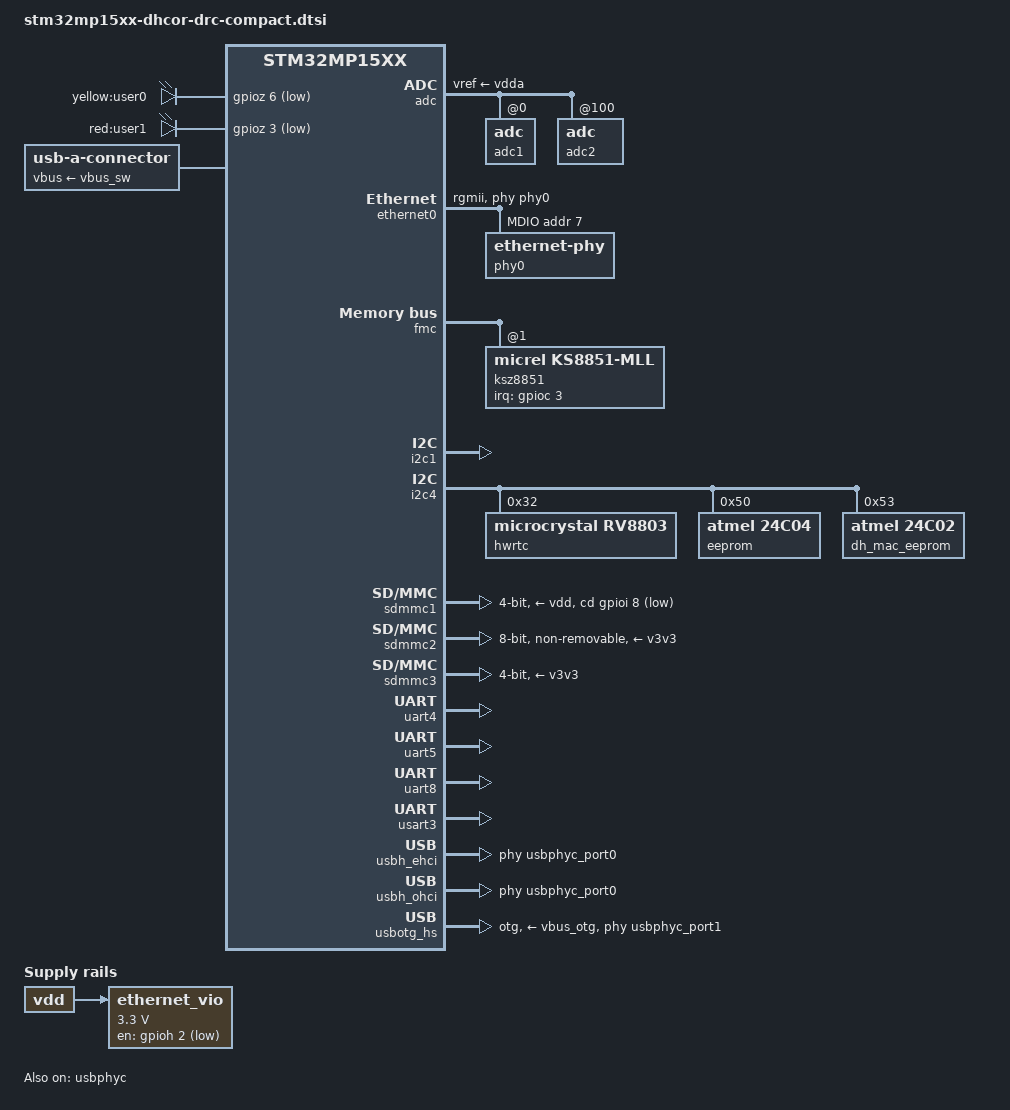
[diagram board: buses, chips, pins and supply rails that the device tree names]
// SPDX-License-Identifier: (GPL-2.0 OR BSD-3-Clause)
/*
 * Copyright (C) 2022 Marek Vasut <marex@denx.de>
 */

/ {
	aliases {
		ethernet0 = &ethernet0;
		ethernet1 = &ksz8851;
		mmc0 = &sdmmc1;
		rtc0 = &hwrtc;
		rtc1 = &rtc;
		serial0 = &uart4;
		serial1 = &uart8;
		serial2 = &usart3;
		serial3 = &uart5;
		spi0 = &qspi;
	};

	chosen {
		stdout-path = "serial0:115200n8";
	};

	led {
		compatible = "gpio-leds";
		led1 {
			label = "yellow:user0";
			gpios = <&gpioz 6 GPIO_ACTIVE_LOW>;
			default-state = "off";
		};

		led2 {
			label = "red:user1";
			gpios = <&gpioz 3 GPIO_ACTIVE_LOW>;
			default-state = "off";
		};
	};

	ethernet_vio: vioregulator {
		compatible = "regulator-fixed";
		regulator-name = "vio";
		regulator-min-microvolt = <3300000>;
		regulator-max-microvolt = <3300000>;
		gpio = <&gpioh 2 GPIO_ACTIVE_LOW>;
		regulator-always-on;
		regulator-boot-on;
		vin-supply = <&vdd>;
	};
};

&adc {	/* X11 ADC inputs */
	pinctrl-names = "default";
	pinctrl-0 = <&adc12_ain_pins_b>;
	vdd-supply = <&vdd>;
	vdda-supply = <&vdda>;
	vref-supply = <&vdda>;
	status = "okay";

	adc1: adc@0 {
		st,adc-channels = <0 1 6>;
		st,min-sample-time-nsecs = <5000>;
		status = "okay";
	};

	adc2: adc@100 {
		st,adc-channels = <0 1 2>;
		st,min-sample-time-nsecs = <5000>;
		status = "okay";
	};
};

&ethernet0 {
	status = "okay";
	pinctrl-0 = <&ethernet0_rgmii_pins_c>;
	pinctrl-1 = <&ethernet0_rgmii_sleep_pins_c>;
	pinctrl-names = "default", "sleep";
	phy-mode = "rgmii";
	max-speed = <1000>;
	phy-handle = <&phy0>;

	mdio {
		#address-cells = <1>;
		#size-cells = <0>;
		compatible = "snps,dwmac-mdio";
		reset-gpios = <&gpioz 2 GPIO_ACTIVE_LOW>;
		reset-delay-us = <1000>;
		reset-post-delay-us = <1000>;

		phy0: ethernet-phy@7 {
			reg = <7>;

			rxc-skew-ps = <1500>;
			rxdv-skew-ps = <540>;
			rxd0-skew-ps = <420>;
			rxd1-skew-ps = <420>;
			rxd2-skew-ps = <420>;
			rxd3-skew-ps = <420>;

			txc-skew-ps = <1440>;
			txen-skew-ps = <540>;
			txd0-skew-ps = <420>;
			txd1-skew-ps = <420>;
			txd2-skew-ps = <420>;
			txd3-skew-ps = <420>;
		};
	};
};

&fmc {
	pinctrl-names = "default", "sleep";
	pinctrl-0 = <&fmc_pins_b>;
	pinctrl-1 = <&fmc_sleep_pins_b>;
	status = "okay";

	ksz8851: ethernet@1,0 {
		compatible = "micrel,ks8851-mll";
		reg = <1 0x0 0x2>, <1 0x2 0x20000>;
		interrupt-parent = <&gpioc>;
		interrupts = <3 IRQ_TYPE_LEVEL_LOW>;
		bank-width = <2>;

		/* Timing values are in nS */
		st,fmc2-ebi-cs-mux-enable;
		st,fmc2-ebi-cs-transaction-type = <4>;
		st,fmc2-ebi-cs-buswidth = <16>;
		st,fmc2-ebi-cs-address-setup-ns = <5>;
		st,fmc2-ebi-cs-address-hold-ns = <5>;
		st,fmc2-ebi-cs-bus-turnaround-ns = <5>;
		st,fmc2-ebi-cs-data-setup-ns = <45>;
		st,fmc2-ebi-cs-data-hold-ns = <1>;
		st,fmc2-ebi-cs-write-address-setup-ns = <5>;
		st,fmc2-ebi-cs-write-address-hold-ns = <5>;
		st,fmc2-ebi-cs-write-bus-turnaround-ns = <5>;
		st,fmc2-ebi-cs-write-data-setup-ns = <45>;
		st,fmc2-ebi-cs-write-data-hold-ns = <1>;
	};
};

&gpioa {
	gpio-line-names = "", "", "", "",
			  "DRCC-VAR2", "", "", "",
			  "", "", "", "",
			  "", "", "", "";
};

&gpioe {
	gpio-line-names = "", "", "", "",
			  "", "DRCC-GPIO0", "", "",
			  "", "", "", "",
			  "", "", "", "";
};

&gpiog {
	gpio-line-names = "", "", "", "",
			  "", "", "", "",
			  "", "", "", "",
			  "DRCC-GPIO5", "", "", "";
};

&gpioh {
	gpio-line-names = "", "", "", "DRCC-HW2",
			  "DRCC-GPIO4", "", "", "",
			  "DRCC-HW1", "DRCC-HW0", "", "DRCC-VAR1",
			  "DRCC-VAR0", "", "", "DRCC-GPIO6";
};

&gpioi {
	gpio-line-names = "", "", "", "",
			  "", "", "", "DRCC-GPIO2",
			  "", "DRCC-GPIO1", "", "",
			  "", "", "", "";
};

&i2c1 {	/* X11 I2C1 */
	pinctrl-names = "default";
	pinctrl-0 = <&i2c1_pins_b>;
	i2c-scl-rising-time-ns = <185>;
	i2c-scl-falling-time-ns = <20>;
	status = "okay";
	/delete-property/dmas;
	/delete-property/dma-names;
};

&i2c4 {
	hwrtc: rtc@32 {
		compatible = "microcrystal,rv8803";
		reg = <0x32>;
	};

	eeprom@50 {
		compatible = "atmel,24c04";
		reg = <0x50>;
		pagesize = <16>;
	};

	dh_mac_eeprom: eeprom@53 {
		compatible = "atmel,24c02";
		reg = <0x53>;
		pagesize = <16>;
	};
};

&sdmmc1 {	/* MicroSD */
	pinctrl-names = "default", "opendrain", "sleep";
	pinctrl-0 = <&sdmmc1_b4_pins_a>;
	pinctrl-1 = <&sdmmc1_b4_od_pins_a>;
	pinctrl-2 = <&sdmmc1_b4_sleep_pins_a>;
	cd-gpios = <&gpioi 8 (GPIO_ACTIVE_LOW | GPIO_PULL_UP)>;
	disable-wp;
	st,neg-edge;
	bus-width = <4>;
	vmmc-supply = <&vdd>;
	vqmmc-supply = <&vdd>;
	status = "okay";
};

&sdmmc2 {	/* eMMC */
	pinctrl-names = "default", "opendrain", "sleep";
	pinctrl-0 = <&sdmmc2_b4_pins_a &sdmmc2_d47_pins_c>;
	pinctrl-1 = <&sdmmc2_b4_od_pins_a &sdmmc2_d47_pins_c>;
	pinctrl-2 = <&sdmmc2_b4_sleep_pins_a &sdmmc2_d47_sleep_pins_c>;
	bus-width = <8>;
	no-sd;
	no-sdio;
	non-removable;
	st,neg-edge;
	vmmc-supply = <&v3v3>;
	vqmmc-supply = <&vdd>;
	status = "okay";
};

&sdmmc3 {	/* SDIO Wi-Fi */
	pinctrl-names = "default", "opendrain", "sleep";
	pinctrl-0 = <&sdmmc3_b4_pins_a>;
	pinctrl-1 = <&sdmmc3_b4_od_pins_a>;
	pinctrl-2 = <&sdmmc3_b4_sleep_pins_a>;
	broken-cd;
	bus-width = <4>;
	mmc-ddr-3_3v;
	st,neg-edge;
	vmmc-supply = <&v3v3>;
	vqmmc-supply = <&v3v3>;
	status = "okay";
};

&spi2 {	/* X11 SPI */
	pinctrl-names = "default";
	pinctrl-0 = <&spi2_pins_b>;
	cs-gpios = <&gpioi 0 0>;
	status = "disabled";
	/delete-property/dmas;
	/delete-property/dma-names;
};

&uart4 {
	label = "UART0";
	pinctrl-names = "default";
	pinctrl-0 = <&uart4_pins_d>;
	/delete-property/dmas;
	/delete-property/dma-names;
	status = "okay";
};

&uart5 {	/* X11 UART */
	label = "X11-UART5";
	pinctrl-names = "default";
	pinctrl-0 = <&uart5_pins_a>;
	/delete-property/dmas;
	/delete-property/dma-names;
	status = "okay";
};

&uart8 {
	label = "RS485-1";
	pinctrl-names = "default";
	pinctrl-0 = <&uart8_pins_a &uart8_rtscts_pins_a>;
	uart-has-rtscts;
	/delete-property/dmas;
	/delete-property/dma-names;
	status = "okay";
};

&usart3 {	/* RS485 or RS232 */
	label = "RS485-2";
	pinctrl-names = "default", "sleep";
	pinctrl-0 = <&usart3_pins_e>;
	pinctrl-1 = <&usart3_sleep_pins_e>;
	uart-has-rtscts;
	/delete-property/dmas;
	/delete-property/dma-names;
	status = "okay";
};

&usbh_ehci {
	phys = <&usbphyc_port0>;
	status = "okay";
};

&usbh_ohci {
	phys = <&usbphyc_port0>;
	status = "okay";
};

&usbotg_hs {
	dr_mode = "otg";
	pinctrl-0 = <&usbotg_hs_pins_a>;
	pinctrl-names = "default";
	phy-names = "usb2-phy";
	phys = <&usbphyc_port1 0>;
	vbus-supply = <&vbus_otg>;
	status = "okay";
};

&usbphyc {
	status = "okay";
};

&usbphyc_port0 {
	phy-supply = <&vdd_usb>;
	connector {
		compatible = "usb-a-connector";
		vbus-supply = <&vbus_sw>;
	};
};

&usbphyc_port1 {
	phy-supply = <&vdd_usb>;
};
